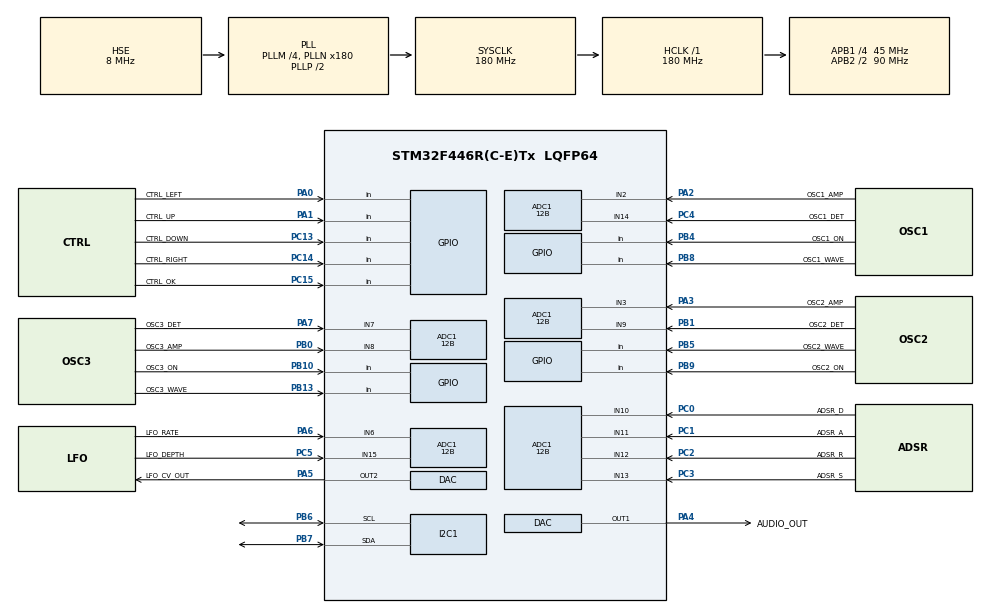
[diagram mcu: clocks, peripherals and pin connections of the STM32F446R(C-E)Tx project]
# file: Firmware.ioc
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ADC1.Channel-10\#ChannelRegularConversion=ADC_CHANNEL_11
ADC1.Channel-11\#ChannelRegularConversion=ADC_CHANNEL_12
ADC1.Channel-12\#ChannelRegularConversion=ADC_CHANNEL_13
ADC1.Channel-13\#ChannelRegularConversion=ADC_CHANNEL_14
ADC1.Channel-14\#ChannelRegularConversion=ADC_CHANNEL_15
ADC1.Channel-3\#ChannelRegularConversion=ADC_CHANNEL_2
ADC1.Channel-4\#ChannelRegularConversion=ADC_CHANNEL_3
ADC1.Channel-5\#ChannelRegularConversion=ADC_CHANNEL_6
ADC1.Channel-6\#ChannelRegularConversion=ADC_CHANNEL_7
ADC1.Channel-7\#ChannelRegularConversion=ADC_CHANNEL_8
ADC1.Channel-8\#ChannelRegularConversion=ADC_CHANNEL_9
ADC1.Channel-9\#ChannelRegularConversion=ADC_CHANNEL_10
ADC1.ClockPrescaler=ADC_CLOCK_SYNC_PCLK_DIV4
ADC1.ContinuousConvMode=DISABLE
ADC1.DMAContinuousRequests=ENABLE
ADC1.DiscontinuousConvMode=DISABLE
ADC1.EOCSelection=ADC_EOC_SINGLE_CONV
ADC1.NbrOfConversion=12
ADC1.NbrOfConversionFlag=1
ADC1.Rank-10\#ChannelRegularConversion=8
ADC1.Rank-11\#ChannelRegularConversion=9
ADC1.Rank-12\#ChannelRegularConversion=10
ADC1.Rank-13\#ChannelRegularConversion=11
ADC1.Rank-14\#ChannelRegularConversion=12
ADC1.Rank-3\#ChannelRegularConversion=1
ADC1.Rank-4\#ChannelRegularConversion=2
ADC1.Rank-5\#ChannelRegularConversion=3
ADC1.Rank-6\#ChannelRegularConversion=4
ADC1.Rank-7\#ChannelRegularConversion=5
ADC1.Rank-8\#ChannelRegularConversion=6
ADC1.Rank-9\#ChannelRegularConversion=7
ADC1.Resolution=ADC_RESOLUTION_12B
ADC1.SamplingTime-10\#ChannelRegularConversion=ADC_SAMPLETIME_144CYCLES
ADC1.SamplingTime-11\#ChannelRegularConversion=ADC_SAMPLETIME_144CYCLES
ADC1.SamplingTime-12\#ChannelRegularConversion=ADC_SAMPLETIME_144CYCLES
ADC1.SamplingTime-13\#ChannelRegularConversion=ADC_SAMPLETIME_144CYCLES
ADC1.SamplingTime-14\#ChannelRegularConversion=ADC_SAMPLETIME_144CYCLES
ADC1.SamplingTime-3\#ChannelRegularConversion=ADC_SAMPLETIME_144CYCLES
ADC1.SamplingTime-4\#ChannelRegularConversion=ADC_SAMPLETIME_144CYCLES
ADC1.SamplingTime-5\#ChannelRegularConversion=ADC_SAMPLETIME_144CYCLES
ADC1.SamplingTime-6\#ChannelRegularConversion=ADC_SAMPLETIME_144CYCLES
ADC1.SamplingTime-7\#ChannelRegularConversion=ADC_SAMPLETIME_144CYCLES
ADC1.SamplingTime-8\#ChannelRegularConversion=ADC_SAMPLETIME_144CYCLES
ADC1.SamplingTime-9\#ChannelRegularConversion=ADC_SAMPLETIME_144CYCLES
ADC1.ScanConvMode=ENABLE
ADC1.master=1
DAC.DAC_Trigger=DAC_TRIGGER_SOFTWARE
DAC.DAC_Trigger2=DAC_TRIGGER_SOFTWARE
Dma.ADC1.0.Direction=DMA_PERIPH_TO_MEMORY
Dma.ADC1.0.FIFOMode=DMA_FIFOMODE_DISABLE
Dma.ADC1.0.Instance=DMA2_Stream0
Dma.ADC1.0.MemDataAlignment=DMA_MDATAALIGN_HALFWORD
Dma.ADC1.0.MemInc=DMA_MINC_ENABLE
Dma.ADC1.0.Mode=DMA_CIRCULAR
Dma.ADC1.0.PeriphDataAlignment=DMA_PDATAALIGN_HALFWORD
Dma.ADC1.0.PeriphInc=DMA_PINC_DISABLE
Dma.ADC1.0.Priority=DMA_PRIORITY_MEDIUM
Dma.Request0=ADC1
I2C1.I2C_Mode=I2C_Fast
Mcu.Family=STM32F4
Mcu.Name=STM32F446R(C-E)Tx
Mcu.Package=LQFP64
NVIC.DMA2_Stream0_IRQn=true\:0\:0\:false\:false\:true\:false\:true
NVIC.PriorityGroup=NVIC_PRIORITYGROUP_4
NVIC.TIM4_IRQn=true\:3\:0\:true\:false\:true\:true\:true
NVIC.TIM6_DAC_IRQn=true\:2\:0\:true\:false\:true\:true\:true
NVIC.TIM7_IRQn=true\:1\:0\:true\:false\:true\:true\:true
PA0-WKUP.GPIO_Label=CTRL_LEFT
PA0-WKUP.GPIO_PuPd=GPIO_PULLUP
PA0-WKUP.Signal=GPIO_Input
PA1.GPIO_Label=CTRL_UP
PA1.GPIO_PuPd=GPIO_PULLUP
PA1.Signal=GPIO_Input
PA2.GPIO_Label=OSC1_AMP
PA2.Signal=ADCx_IN2
PA3.GPIO_Label=OSC2_AMP
PA3.Signal=ADCx_IN3
PA4.GPIO_Label=AUDIO_OUT
PA4.Signal=COMP_DAC1_group
PA5.GPIO_Label=LFO_CV_OUT
PA5.Signal=COMP_DAC2_group
PA6.GPIO_Label=LFO_RATE
PA6.Signal=ADCx_IN6
PA7.GPIO_Label=OSC3_DET
PA7.Signal=ADCx_IN7
PB0.GPIO_Label=OSC3_AMP
PB0.Signal=ADCx_IN8
PB1.GPIO_Label=OSC2_DET
PB1.Signal=ADCx_IN9
PB10.GPIO_Label=OSC3_ON
PB10.GPIO_PuPd=GPIO_PULLUP
PB10.Signal=GPIO_Input
PB13.GPIO_Label=OSC3_WAVE
PB13.GPIO_PuPd=GPIO_PULLUP
PB13.Signal=GPIO_Input
PB4.GPIO_Label=OSC1_ON
PB4.GPIO_PuPd=GPIO_PULLUP
PB4.Signal=GPIO_Input
PB5.GPIO_Label=OSC2_WAVE
PB5.GPIO_PuPd=GPIO_PULLUP
PB5.Signal=GPIO_Input
PB6.Mode=I2C
PB6.Signal=I2C1_SCL
PB7.Mode=I2C
PB7.Signal=I2C1_SDA
PB8.GPIO_Label=OSC1_WAVE
PB8.GPIO_PuPd=GPIO_PULLUP
PB8.Signal=GPIO_Input
PB9.GPIO_Label=OSC2_ON
PB9.GPIO_PuPd=GPIO_PULLUP
PB9.Signal=GPIO_Input
PC0.GPIO_Label=ADSR_D
PC0.Signal=ADCx_IN10
PC1.GPIO_Label=ADSR_A
PC1.Signal=ADCx_IN11
PC13.GPIO_Label=CTRL_DOWN
PC13.GPIO_PuPd=GPIO_PULLUP
PC13.Signal=GPIO_Input
PC14-OSC32_IN.GPIO_Label=CTRL_RIGHT
PC14-OSC32_IN.GPIO_PuPd=GPIO_PULLUP
PC14-OSC32_IN.Signal=GPIO_Input
PC15-OSC32_OUT.GPIO_Label=CTRL_OK
PC15-OSC32_OUT.GPIO_PuPd=GPIO_PULLUP
PC15-OSC32_OUT.Signal=GPIO_Input
PC2.GPIO_Label=ADSR_R
PC2.Signal=ADCx_IN12
PC3.GPIO_Label=ADSR_S
PC3.Signal=ADCx_IN13
PC4.GPIO_Label=OSC1_DET
PC4.Signal=ADCx_IN14
PC5.GPIO_Label=LFO_DEPTH
PC5.Signal=ADCx_IN15
PH0-OSC_IN.Mode=HSE-External-Oscillator
PH0-OSC_IN.Signal=RCC_OSC_IN
PH1-OSC_OUT.Mode=HSE-External-Oscillator
PH1-OSC_OUT.Signal=RCC_OSC_OUT
ProjectManager.HeapSize=0x200
ProjectManager.StackSize=0x400
ProjectManager.TargetToolchain=STM32CubeIDE
RCC.AHBFreq_Value=180000000
RCC.APB1CLKDivider=RCC_HCLK_DIV4
RCC.APB1Freq_Value=45000000
RCC.APB1TimFreq_Value=90000000
RCC.APB2CLKDivider=RCC_HCLK_DIV2
RCC.APB2Freq_Value=90000000
RCC.APB2TimFreq_Value=180000000
RCC.CortexFreq_Value=180000000
RCC.HCLKFreq_Value=180000000
RCC.HSE_VALUE=8000000
RCC.PLLI2SM=32
RCC.PLLM=4
RCC.PLLN=180
RCC.PLLSAIM=32
RCC.PLLSourceVirtual=RCC_PLLSOURCE_HSE
RCC.SYSCLKFreq_VALUE=180000000
RCC.SYSCLKSource=RCC_SYSCLKSOURCE_PLLCLK
RCC.USBFreq_Value=180000000
RCC.VCOOutputFreq_Value=360000000
SH.ADCx_IN10.0=ADC1_IN10,IN10
SH.ADCx_IN11.0=ADC1_IN11,IN11
SH.ADCx_IN12.0=ADC1_IN12,IN12
SH.ADCx_IN13.0=ADC1_IN13,IN13
SH.ADCx_IN14.0=ADC1_IN14,IN14
SH.ADCx_IN15.0=ADC1_IN15,IN15
SH.ADCx_IN2.0=ADC1_IN2,IN2
SH.ADCx_IN3.0=ADC1_IN3,IN3
SH.ADCx_IN6.0=ADC1_IN6,IN6
SH.ADCx_IN7.0=ADC1_IN7,IN7
SH.ADCx_IN8.0=ADC1_IN8,IN8
SH.ADCx_IN9.0=ADC1_IN9,IN9
SH.COMP_DAC1_group.0=DAC_OUT1,DAC_OUT1
SH.COMP_DAC2_group.0=DAC_OUT2,DAC_OUT2
TIM4.AutoReloadPreload=TIM_AUTORELOAD_PRELOAD_ENABLE
TIM4.Period=199
TIM4.Prescaler=8999
TIM4.TIM_MasterOutputTrigger=TIM_TRGO_UPDATE
TIM6.AutoReloadPreload=TIM_AUTORELOAD_PRELOAD_ENABLE
TIM6.Period=2040
TIM6.TIM_MasterOutputTrigger=TIM_TRGO_UPDATE
TIM7.AutoReloadPreload=TIM_AUTORELOAD_PRELOAD_ENABLE
TIM7.Period=199
TIM7.Prescaler=8999
TIM7.TIM_MasterOutputTrigger=TIM_TRGO_UPDATE
VP_TIM4_VS_ClockSourceINT.Mode=Internal
VP_TIM6_VS_ClockSourceINT.Mode=Enable_Timer
VP_TIM7_VS_ClockSourceINT.Mode=Enable_Timer
board=NUCLEO-F446RE

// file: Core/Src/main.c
/* USER CODE BEGIN Header */
/**
  ******************************************************************************
  * @file           : main.c
  * @brief          : Main program body
  ******************************************************************************
  * @attention
  *
  * <h2><center>&copy; Copyright (c) 2020 STMicroelectronics.
  * All rights reserved.</center></h2>
  *
  * This software component is licensed by ST under BSD 3-Clause license,
  * the "License"; You may not use this file except in compliance with the
  * License. You may obtain a copy of the License at:
  *                        opensource.org/licenses/BSD-3-Clause
  *
  ******************************************************************************
  */
/* USER CODE END Header */
#include "main.h"

/* USER CODE BEGIN Includes */
#include "audio_core/audio_core.h"
#include "HMI/HMI.h"
#include "HMI/display_core.h"
/* USER CODE END Includes */

ADC_HandleTypeDef hadc1;
DMA_HandleTypeDef hdma_adc1;

DAC_HandleTypeDef hdac;

I2C_HandleTypeDef hi2c1;

TIM_HandleTypeDef htim4;
TIM_HandleTypeDef htim6;
TIM_HandleTypeDef htim7;

/* USER CODE BEGIN PV */

Audio_core ac;
Hmi hmi;

/* USER CODE END PV */

void SystemClock_Config(void);
static void MX_GPIO_Init(void);
static void MX_DMA_Init(void);
static void MX_DAC_Init(void);
static void MX_TIM6_Init(void);
static void MX_ADC1_Init(void);
static void MX_I2C1_Init(void);
static void MX_TIM7_Init(void);
static void MX_TIM4_Init(void);

int main(void)
{

  /* MCU Configuration--------------------------------------------------------*/

  /* Reset of all peripherals, Initializes the Flash interface and the Systick. */
  HAL_Init();

  /* Configure the system clock */
  SystemClock_Config();

  /* Initialize all configured peripherals */
  MX_GPIO_Init();
  MX_DMA_Init();
  MX_DAC_Init();
  MX_TIM6_Init();
  MX_ADC1_Init();
  MX_I2C1_Init();
  MX_TIM7_Init();
  MX_TIM4_Init();
  /* USER CODE BEGIN 2 */

  HAL_TIM_Base_Start_IT(&htim6);		// Start TIM6 (Audio core timer), IT mode

  HAL_DAC_Start(&hdac,DAC_CHANNEL_1);	// Start DAC on channel 1
  HAL_DAC_Start(&hdac,DAC_CHANNEL_2);	// Start DAC on channel 2

  HAL_ADC_Start_DMA(&hadc1, (uint32_t*)hmi.adc_raw_data, NBR_OF_POTS);	// Start HMI potentiometers ADC

  hmi_init(&hmi);
  HAL_TIM_Base_Start_IT(&htim7);		// Start TIM7 (HMI inputs timer), IT mode
  HAL_TIM_Base_Start_IT(&htim4);		// Start TIM4 (HMI display refresh timer), IT mode

  synth_core_start(&ac);

  // The following code is for test purpose ////////////////

  ac.sys_param.env.attack = 0.5;
  ac.sys_param.env.decay = 0;
  ac.sys_param.env.sustain = 1;
  ac.sys_param.env.release = 0.5;

  ac.sys_param.osc1.onoff = ON;
  ac.sys_param.osc2.onoff = ON;
  ac.sys_param.osc3.onoff = ON;

  ac.sys_param.osc1.wave = SIN;
  ac.sys_param.osc2.wave = SQR;
  ac.sys_param.osc3.wave = TRI;
  ac.sys_param.osc1.amp = 1;
  ac.sys_param.osc2.amp = 1;
  ac.sys_param.osc3.amp = 1;

  ac.sys_param.osc1.detune = 0;
  ac.sys_param.osc2.detune = 0;
  ac.sys_param.osc3.detune = 0;

  ac.sys_param.lfo.amp = 0.5;
  ac.sys_param.lfo.wave = SIN;
  ac.sys_param.lfo.freq = 51; // ranges from 0 to 1023, corresponding to 0 to 20Hz
  ac.sys_param.lfo.onoff = ON;
  ac.sys_param.lfo.detune = 0;

  copy_osc_sys_param_to_notes_osc(&ac.sys_param, ac.note);
  copy_osc_sys_param_to_lfo(&ac.sys_param, &ac.lfo);

  int testmidinotes[POLYPHONY_MAX]={60,64,67};

  for(int i=0;i<POLYPHONY_MAX;++i){
	  midi_note_ON(ac.note, testmidinotes[i], 127);
	  HAL_Delay(1000);
  }
  for(int j=0;j<POLYPHONY_MAX;++j){
  	  midi_note_OFF(ac.note, testmidinotes[j]);
  	  HAL_Delay(1000);
  }

  midi_note_ON(ac.note, 60, 127);

/*    //following code will test the arbitrary wave menu
    disp_Init_tab_arb();
    disp_Draw_arb_frame();
    disp_Draw_ARB_points();
    disp_ARB_Shift_Select_Right();
    double value = 0;
    for(int i=0; i<sizeOfTab*2;i++){
  	  value=0;
  	  for(int j=0; j<11;j++){
  		  value = 0.1+value;
  		  disp_Update_arb_selected(value);
  		  disp_Remove_arb_points();
  		  disp_Draw_ARB_points();
  	  }
  	  disp_Draw_ARB_points();
  	  disp_ARB_Shift_Select_Left();
    }*/

  // End of test code		////////////////////////////////

  /* USER CODE END 2 */

  /* Infinite loop */
  while (1)
  {

  }
}

void SystemClock_Config(void)
{
  RCC_OscInitTypeDef RCC_OscInitStruct = {0};
  RCC_ClkInitTypeDef RCC_ClkInitStruct = {0};

  /** Configure the main internal regulator output voltage
  */
  __HAL_RCC_PWR_CLK_ENABLE();
  __HAL_PWR_VOLTAGESCALING_CONFIG(PWR_REGULATOR_VOLTAGE_SCALE1);
  /** Initializes the RCC Oscillators according to the specified parameters
  * in the RCC_OscInitTypeDef structure.
  */
  RCC_OscInitStruct.OscillatorType = RCC_OSCILLATORTYPE_HSE;
  RCC_OscInitStruct.HSEState = RCC_HSE_ON;
  RCC_OscInitStruct.PLL.PLLState = RCC_PLL_ON;
  RCC_OscInitStruct.PLL.PLLSource = RCC_PLLSOURCE_HSE;
  RCC_OscInitStruct.PLL.PLLM = 4;
  RCC_OscInitStruct.PLL.PLLN = 180;
  RCC_OscInitStruct.PLL.PLLP = RCC_PLLP_DIV2;
  RCC_OscInitStruct.PLL.PLLQ = 2;
  RCC_OscInitStruct.PLL.PLLR = 2;
  if (HAL_RCC_OscConfig(&RCC_OscInitStruct) != HAL_OK)
  {
    Error_Handler();
  }
  /** Activate the Over-Drive mode
  */
  if (HAL_PWREx_EnableOverDrive() != HAL_OK)
  {
    Error_Handler();
  }
  /** Initializes the CPU, AHB and APB buses clocks
  */
  RCC_ClkInitStruct.ClockType = RCC_CLOCKTYPE_HCLK|RCC_CLOCKTYPE_SYSCLK
                              |RCC_CLOCKTYPE_PCLK1|RCC_CLOCKTYPE_PCLK2;
  RCC_ClkInitStruct.SYSCLKSource = RCC_SYSCLKSOURCE_PLLCLK;
  RCC_ClkInitStruct.AHBCLKDivider = RCC_SYSCLK_DIV1;
  RCC_ClkInitStruct.APB1CLKDivider = RCC_HCLK_DIV4;
  RCC_ClkInitStruct.APB2CLKDivider = RCC_HCLK_DIV2;

  if (HAL_RCC_ClockConfig(&RCC_ClkInitStruct, FLASH_LATENCY_5) != HAL_OK)
  {
    Error_Handler();
  }
}

static void MX_ADC1_Init(void)
{

  ADC_ChannelConfTypeDef sConfig = {0};

  /** Configure the global features of the ADC (Clock, Resolution, Data Alignment and number of conversion)
  */
  hadc1.Instance = ADC1;
  hadc1.Init.ClockPrescaler = ADC_CLOCK_SYNC_PCLK_DIV4;
  hadc1.Init.Resolution = ADC_RESOLUTION_12B;
  hadc1.Init.ScanConvMode = ENABLE;
  hadc1.Init.ContinuousConvMode = DISABLE;
  hadc1.Init.DiscontinuousConvMode = DISABLE;
  hadc1.Init.ExternalTrigConvEdge = ADC_EXTERNALTRIGCONVEDGE_NONE;
  hadc1.Init.ExternalTrigConv = ADC_SOFTWARE_START;
  hadc1.Init.DataAlign = ADC_DATAALIGN_RIGHT;
  hadc1.Init.NbrOfConversion = 12;
  hadc1.Init.DMAContinuousRequests = ENABLE;
  hadc1.Init.EOCSelection = ADC_EOC_SINGLE_CONV;
  if (HAL_ADC_Init(&hadc1) != HAL_OK)
  {
    Error_Handler();
  }
  /** Configure for the selected ADC regular channel its corresponding rank in the sequencer and its sample time.
  */
  sConfig.Channel = ADC_CHANNEL_2;
  sConfig.Rank = 1;
  sConfig.SamplingTime = ADC_SAMPLETIME_144CYCLES;
  if (HAL_ADC_ConfigChannel(&hadc1, &sConfig) != HAL_OK)
  {
    Error_Handler();
  }
  /** Configure for the selected ADC regular channel its corresponding rank in the sequencer and its sample time.
  */
  sConfig.Channel = ADC_CHANNEL_3;
  sConfig.Rank = 2;
  if (HAL_ADC_ConfigChannel(&hadc1, &sConfig) != HAL_OK)
  {
    Error_Handler();
  }
  /** Configure for the selected ADC regular channel its corresponding rank in the sequencer and its sample time.
  */
  sConfig.Channel = ADC_CHANNEL_6;
  sConfig.Rank = 3;
  if (HAL_ADC_ConfigChannel(&hadc1, &sConfig) != HAL_OK)
  {
    Error_Handler();
  }
  /** Configure for the selected ADC regular channel its corresponding rank in the sequencer and its sample time.
  */
  sConfig.Channel = ADC_CHANNEL_7;
  sConfig.Rank = 4;
  if (HAL_ADC_ConfigChannel(&hadc1, &sConfig) != HAL_OK)
  {
    Error_Handler();
  }
  /** Configure for the selected ADC regular channel its corresponding rank in the sequencer and its sample time.
  */
  sConfig.Channel = ADC_CHANNEL_8;
  sConfig.Rank = 5;
  if (HAL_ADC_ConfigChannel(&hadc1, &sConfig) != HAL_OK)
  {
    Error_Handler();
  }
  /** Configure for the selected ADC regular channel its corresponding rank in the sequencer and its sample time.
  */
  sConfig.Channel = ADC_CHANNEL_9;
  sConfig.Rank = 6;
  if (HAL_ADC_ConfigChannel(&hadc1, &sConfig) != HAL_OK)
  {
    Error_Handler();
  }
  /** Configure for the selected ADC regular channel its corresponding rank in the sequencer and its sample time.
  */
  sConfig.Channel = ADC_CHANNEL_10;
  sConfig.Rank = 7;
  if (HAL_ADC_ConfigChannel(&hadc1, &sConfig) != HAL_OK)
  {
    Error_Handler();
  }
  /** Configure for the selected ADC regular channel its corresponding rank in the sequencer and its sample time.
  */
  sConfig.Channel = ADC_CHANNEL_11;
  sConfig.Rank = 8;
  if (HAL_ADC_ConfigChannel(&hadc1, &sConfig) != HAL_OK)
  {
    Error_Handler();
  }
  /** Configure for the selected ADC regular channel its corresponding rank in the sequencer and its sample time.
  */
  sConfig.Channel = ADC_CHANNEL_12;
  sConfig.Rank = 9;
  if (HAL_ADC_ConfigChannel(&hadc1, &sConfig) != HAL_OK)
  {
    Error_Handler();
  }
  /** Configure for the selected ADC regular channel its corresponding rank in the sequencer and its sample time.
  */
  sConfig.Channel = ADC_CHANNEL_13;
  sConfig.Rank = 10;
  if (HAL_ADC_ConfigChannel(&hadc1, &sConfig) != HAL_OK)
  {
    Error_Handler();
  }
  /** Configure for the selected ADC regular channel its corresponding rank in the sequencer and its sample time.
  */
  sConfig.Channel = ADC_CHANNEL_14;
  sConfig.Rank = 11;
  if (HAL_ADC_ConfigChannel(&hadc1, &sConfig) != HAL_OK)
  {
    Error_Handler();
  }
  /** Configure for the selected ADC regular channel its corresponding rank in the sequencer and its sample time.
  */
  sConfig.Channel = ADC_CHANNEL_15;
  sConfig.Rank = 12;
  if (HAL_ADC_ConfigChannel(&hadc1, &sConfig) != HAL_OK)
  {
    Error_Handler();
  }

}

static void MX_DAC_Init(void)
{

  DAC_ChannelConfTypeDef sConfig = {0};

  /** DAC Initialization
  */
  hdac.Instance = DAC;
  if (HAL_DAC_Init(&hdac) != HAL_OK)
  {
    Error_Handler();
  }
  /** DAC channel OUT1 config
  */
  sConfig.DAC_Trigger = DAC_TRIGGER_SOFTWARE;
  sConfig.DAC_OutputBuffer = DAC_OUTPUTBUFFER_ENABLE;
  if (HAL_DAC_ConfigChannel(&hdac, &sConfig, DAC_CHANNEL_1) != HAL_OK)
  {
    Error_Handler();
  }
  /** DAC channel OUT2 config
  */
  if (HAL_DAC_ConfigChannel(&hdac, &sConfig, DAC_CHANNEL_2) != HAL_OK)
  {
    Error_Handler();
  }

}

static void MX_I2C1_Init(void)
{

  hi2c1.Instance = I2C1;
  hi2c1.Init.ClockSpeed = 400000;
  hi2c1.Init.DutyCycle = I2C_DUTYCYCLE_2;
  hi2c1.Init.OwnAddress1 = 0;
  hi2c1.Init.AddressingMode = I2C_ADDRESSINGMODE_7BIT;
  hi2c1.Init.DualAddressMode = I2C_DUALADDRESS_DISABLE;
  hi2c1.Init.OwnAddress2 = 0;
  hi2c1.Init.GeneralCallMode = I2C_GENERALCALL_DISABLE;
  hi2c1.Init.NoStretchMode = I2C_NOSTRETCH_DISABLE;
  if (HAL_I2C_Init(&hi2c1) != HAL_OK)
  {
    Error_Handler();
  }

}

static void MX_TIM4_Init(void)
{

  TIM_ClockConfigTypeDef sClockSourceConfig = {0};
  TIM_MasterConfigTypeDef sMasterConfig = {0};

  htim4.Instance = TIM4;
  htim4.Init.Prescaler = 8999;
  htim4.Init.CounterMode = TIM_COUNTERMODE_UP;
  htim4.Init.Period = 199;
  htim4.Init.ClockDivision = TIM_CLOCKDIVISION_DIV1;
  htim4.Init.AutoReloadPreload = TIM_AUTORELOAD_PRELOAD_ENABLE;
  if (HAL_TIM_Base_Init(&htim4) != HAL_OK)
  {
    Error_Handler();
  }
  sClockSourceConfig.ClockSource = TIM_CLOCKSOURCE_INTERNAL;
  if (HAL_TIM_ConfigClockSource(&htim4, &sClockSourceConfig) != HAL_OK)
  {
    Error_Handler();
  }
  sMasterConfig.MasterOutputTrigger = TIM_TRGO_UPDATE;
  sMasterConfig.MasterSlaveMode = TIM_MASTERSLAVEMODE_DISABLE;
  if (HAL_TIMEx_MasterConfigSynchronization(&htim4, &sMasterConfig) != HAL_OK)
  {
    Error_Handler();
  }

}

static void MX_TIM6_Init(void)
{

  TIM_MasterConfigTypeDef sMasterConfig = {0};

  htim6.Instance = TIM6;
  htim6.Init.Prescaler = 0;
  htim6.Init.CounterMode = TIM_COUNTERMODE_UP;
  htim6.Init.Period = 2040;
  htim6.Init.AutoReloadPreload = TIM_AUTORELOAD_PRELOAD_ENABLE;
  if (HAL_TIM_Base_Init(&htim6) != HAL_OK)
  {
    Error_Handler();
  }
  sMasterConfig.MasterOutputTrigger = TIM_TRGO_UPDATE;
  sMasterConfig.MasterSlaveMode = TIM_MASTERSLAVEMODE_DISABLE;
  if (HAL_TIMEx_MasterConfigSynchronization(&htim6, &sMasterConfig) != HAL_OK)
  {
    Error_Handler();
  }

}

static void MX_TIM7_Init(void)
{

  TIM_MasterConfigTypeDef sMasterConfig = {0};

  htim7.Instance = TIM7;
  htim7.Init.Prescaler = 8999;
  htim7.Init.CounterMode = TIM_COUNTERMODE_UP;
  htim7.Init.Period = 199;
  htim7.Init.AutoReloadPreload = TIM_AUTORELOAD_PRELOAD_ENABLE;
  if (HAL_TIM_Base_Init(&htim7) != HAL_OK)
  {
    Error_Handler();
  }
  sMasterConfig.MasterOutputTrigger = TIM_TRGO_UPDATE;
  sMasterConfig.MasterSlaveMode = TIM_MASTERSLAVEMODE_DISABLE;
  if (HAL_TIMEx_MasterConfigSynchronization(&htim7, &sMasterConfig) != HAL_OK)
  {
    Error_Handler();
  }

}

static void MX_DMA_Init(void)
{

  /* DMA controller clock enable */
  __HAL_RCC_DMA2_CLK_ENABLE();

  /* DMA interrupt init */
  /* DMA2_Stream0_IRQn interrupt configuration */
  HAL_NVIC_SetPriority(DMA2_Stream0_IRQn, 0, 0);
  HAL_NVIC_EnableIRQ(DMA2_Stream0_IRQn);

}

static void MX_GPIO_Init(void)
{
  GPIO_InitTypeDef GPIO_InitStruct = {0};

  /* GPIO Ports Clock Enable */
  __HAL_RCC_GPIOC_CLK_ENABLE();
  __HAL_RCC_GPIOH_CLK_ENABLE();
  __HAL_RCC_GPIOA_CLK_ENABLE();
  __HAL_RCC_GPIOB_CLK_ENABLE();

  /*Configure GPIO pins : CTRL_DOWN_Pin CTRL_RIGHT_Pin CTRL_OK_Pin */
  GPIO_InitStruct.Pin = CTRL_DOWN_Pin|CTRL_RIGHT_Pin|CTRL_OK_Pin;
  GPIO_InitStruct.Mode = GPIO_MODE_INPUT;
  GPIO_InitStruct.Pull = GPIO_PULLUP;
  HAL_GPIO_Init(GPIOC, &GPIO_InitStruct);

  /*Configure GPIO pins : CTRL_LEFT_Pin CTRL_UP_Pin */
  GPIO_InitStruct.Pin = CTRL_LEFT_Pin|CTRL_UP_Pin;
  GPIO_InitStruct.Mode = GPIO_MODE_INPUT;
  GPIO_InitStruct.Pull = GPIO_PULLUP;
  HAL_GPIO_Init(GPIOA, &GPIO_InitStruct);

  /*Configure GPIO pins : OSC3_ON_Pin OSC3_WAVE_Pin OSC1_ON_Pin OSC2_WAVE_Pin
                           OSC1_WAVE_Pin OSC2_ON_Pin */
  GPIO_InitStruct.Pin = OSC3_ON_Pin|OSC3_WAVE_Pin|OSC1_ON_Pin|OSC2_WAVE_Pin
                          |OSC1_WAVE_Pin|OSC2_ON_Pin;
  GPIO_InitStruct.Mode = GPIO_MODE_INPUT;
  GPIO_InitStruct.Pull = GPIO_PULLUP;
  HAL_GPIO_Init(GPIOB, &GPIO_InitStruct);

}

void Error_Handler(void)
{
}

/************************ (C) COPYRIGHT STMicroelectronics *****END OF FILE****/
